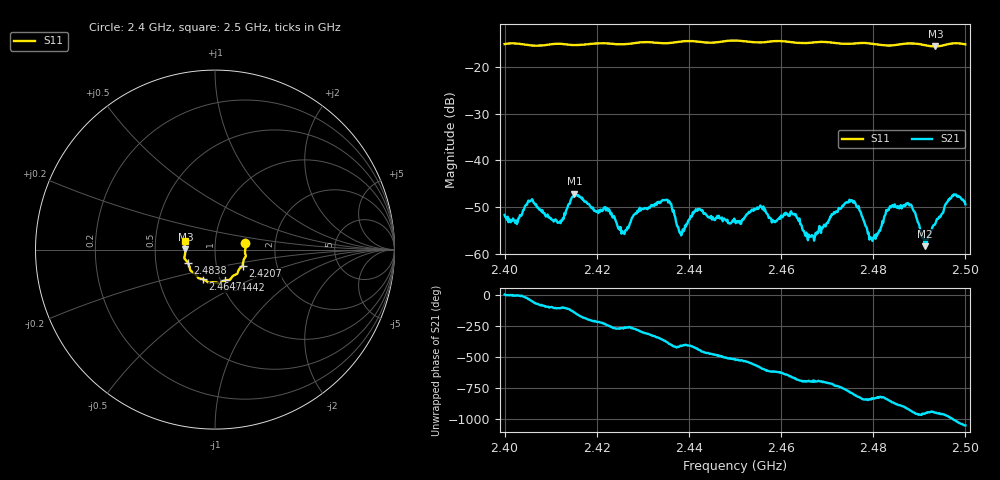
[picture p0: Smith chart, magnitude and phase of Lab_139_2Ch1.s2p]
# Hz S RI R 50
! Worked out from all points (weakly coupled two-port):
!   601 points, 2.4 GHz to 2.5 GHz, reference 50 ohm
!   highest |S21| = -47.08 dB at 2.4152 GHz (marker M1); lowest = -58.3 dB at 2.4912 GHz (marker M2)
!   lowest |S11| = -15.7 dB at 2.4935 GHz (marker M3), VSWR 1.39, Z = 35.9 + j0.102 ohm
!   |S11| at or under -10 dB: start of sweep to end of sweep
!   S12 and S22 are empty: the file has one direction only
!   S11 on the Smith chart (normalised r, x): 2.4 GHz: 1.40, +0.11; 2.4207 GHz: 1.34, -0.25; 2.4442 GHz: 1.06, -0.37; 2.4647 GHz: 0.83, -0.28; 2.4838 GHz: 0.73, -0.11; 2.5 GHz: 0.71, +0.07
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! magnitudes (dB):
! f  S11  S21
! 2.4 GHz  -15.2  -51.6
! 2.4057 GHz  -15.4  -48.6
! 2.412 GHz  -15.1  -53.0
! 2.4152 GHz  -15.4  -47.1
! 2.4167 GHz  -15.3  -48.1
! 2.4207 GHz  -15.0  -51.0
! 2.4258 GHz  -15.2  -55.4
! 2.4333 GHz  -14.9  -49.0
! 2.4383 GHz  -14.6  -56.0
! 2.4442 GHz  -14.9  -52.1
! 2.45 GHz  -14.4  -52.9
! 2.4557 GHz  -14.8  -49.9
! 2.4647 GHz  -15.0  -54.8
! 2.4667 GHz  -14.9  -55.9
! 2.4753 GHz  -15.1  -48.5
! 2.48 GHz  -15.1  -56.7
! 2.4833 GHz  -15.5  -50.6
! 2.4838 GHz  -15.5  -50.0
! 2.488 GHz  -15.0  -49.5
! 2.4912 GHz  -15.4  -58.3
! 2.4935 GHz  -15.7  -53.5
! 2.5 GHz  -15.2  -49.4
